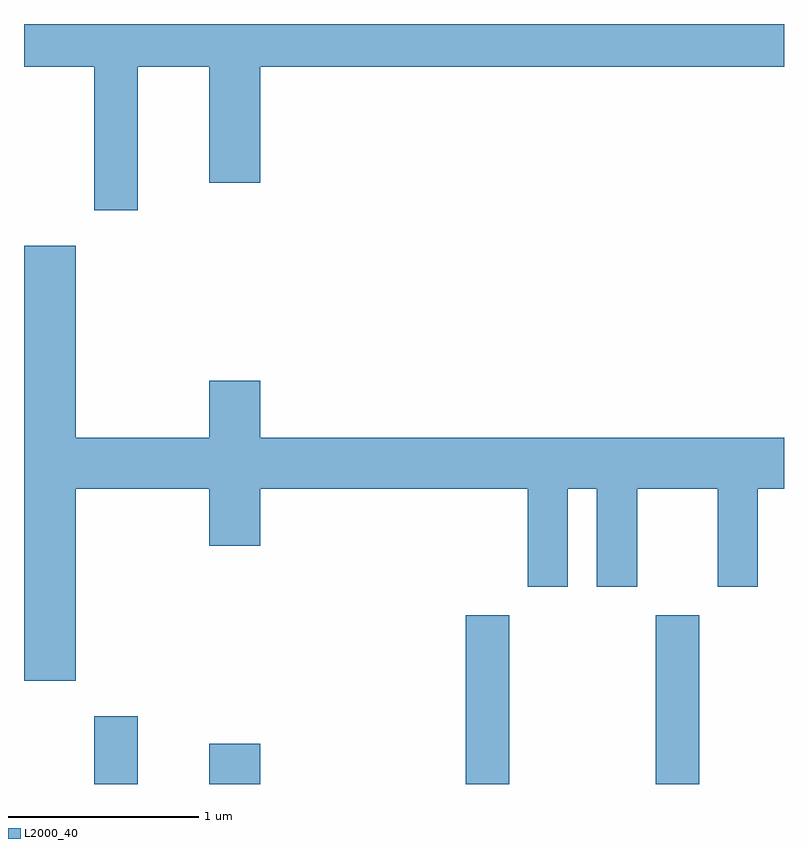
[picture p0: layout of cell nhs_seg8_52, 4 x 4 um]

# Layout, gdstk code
import gdstk
lib = gdstk.Library(unit=1e-6, precision=1e-09)
def R(c, l, rs):  # rectangles x0, y0, x1, y1
    for r in rs: c.add(gdstk.rectangle(r[:2], r[2:], *l))
def P(c, l, *ps):  # polygons
    for p in ps: c.add(gdstk.Polygon(p, *l))
L2000_40 = (2000, 40)

nhs_seg8_52 = lib.new_cell('nhs_seg8_52')
R(nhs_seg8_52, L2000_40, [(185.981,1910.342,186.209,1910.699), (186.586,1910.342,186.854,1910.554), (187.936,1910.342,188.164,1911.229), (188.936,1910.342,189.164,1911.229)])
P(nhs_seg8_52, L2000_40, [(186.209,1914.116),(186.586,1914.116),(186.586,1913.506),(186.854,1913.506),(186.854,1914.116),(189.611,1914.116),(189.611,1914.342),(185.611,1914.342),(185.611,1914.116),(185.981,1914.116),(185.981,1913.361),(186.209,1913.361)],
  [(185.884,1911.896),(186.586,1911.896),(186.586,1911.596),(186.854,1911.596),(186.854,1911.896),(188.261,1911.896),(188.261,1911.381),(188.474,1911.381),(188.474,1911.896),(188.626,1911.896),(188.626,1911.381),(188.839,1911.381),(188.839,1911.896),(189.261,1911.896),(189.261,1911.381),(189.474,1911.381),(189.474,1911.896),(189.611,1911.896),(189.611,1912.164),(186.854,1912.164),(186.854,1912.464),(186.586,1912.464),(186.586,1912.164),(185.884,1912.164),(185.884,1913.174),(185.611,1913.174),(185.611,1910.886),(185.884,1910.886)])

lib.write_gds('nhs_seg8_52.gds')
